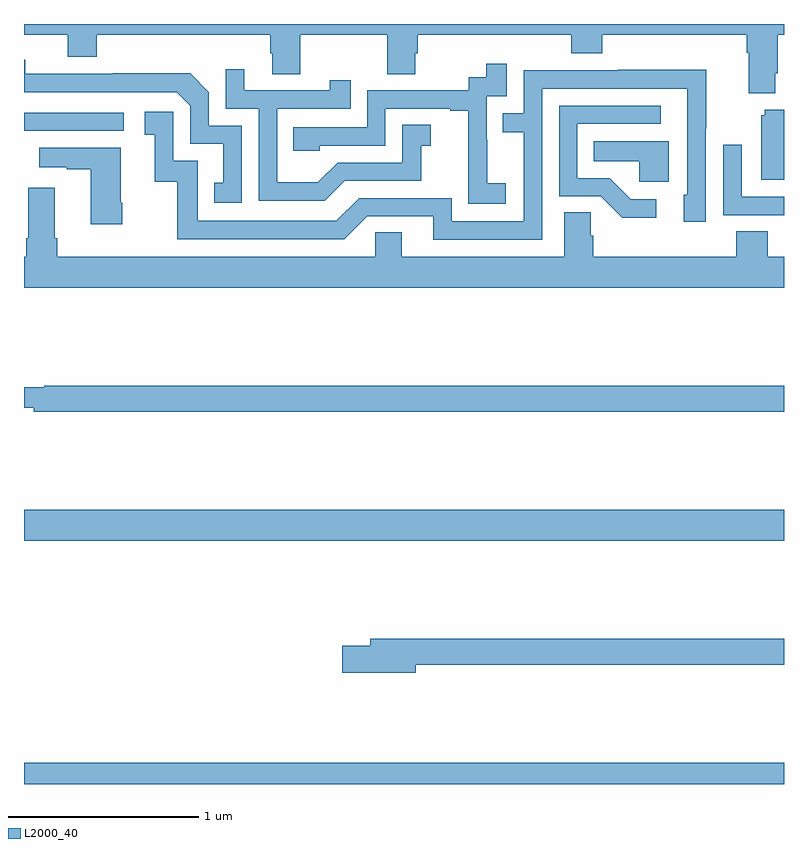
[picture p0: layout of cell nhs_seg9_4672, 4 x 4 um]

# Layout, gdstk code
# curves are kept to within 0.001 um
import gdstk
lib = gdstk.Library(unit=1e-6, precision=1e-09)
def R(c, l, rs):  # rectangles x0, y0, x1, y1
    for r in rs: c.add(gdstk.rectangle(r[:2], r[2:], *l))
def P(c, l, *ps):  # polygons
    for p in ps: c.add(gdstk.Polygon(p, *l))
L2000_40 = (2000, 40)

nhs_seg9_4672 = lib.new_cell('nhs_seg9_4672')
R(nhs_seg9_4672, L2000_40, [(381,1168.5,385,1168.612), (381,1169.78,385,1169.944), (381,1171.938,381.526,1172.034)])
P(nhs_seg9_4672, L2000_40, [(384.955,1172.242),(384.968,1172.242),(384.968,1172.444),(385,1172.444),(385,1172.5),(381,1172.5),(381,1172.444),(381.23,1172.444),(381.23,1172.327),(381.383,1172.327),(381.383,1172.444),(382.295,1172.444),(382.295,1172.346),(382.307,1172.346),(382.307,1172.236),(382.455,1172.236),(382.455,1172.444),(382.912,1172.444),(382.912,1172.236),(383.059,1172.236),(383.059,1172.346),(383.072,1172.346),(383.072,1172.444),(383.879,1172.444),(383.879,1172.345),(384.044,1172.345),(384.044,1172.444),(384.803,1172.444),(384.803,1172.348),(384.815,1172.348),(384.815,1172.135),(384.955,1172.135)],
  [(382.146,1171.965),(381.972,1171.965),(381.972,1172.142),(381.874,1172.24),(381.466,1172.24),(381.466,1172.238),(381.006,1172.238),(381.006,1172.311),(381,1172.311),(381,1172.142),(381.804,1172.142),(381.876,1172.07),(381.876,1171.869),(382.049,1171.869),(382.049,1171.665),(382,1171.665),(382,1171.56),(382.146,1171.56)],
  [(383.536,1171.663),(383.438,1171.663),(383.438,1171.892),(383.436,1171.892),(383.436,1172.121),(383.541,1172.121),(383.541,1172.29),(383.433,1172.29),(383.433,1172.22),(383.34,1172.22),(383.34,1172.151),(382.806,1172.151),(382.806,1171.956),(382.417,1171.956),(382.417,1171.833),(382.557,1171.833),(382.557,1171.86),(382.902,1171.86),(382.902,1172.055),(383.243,1172.055),(383.243,1172.043),(383.339,1172.043),(383.339,1171.759),(383.338,1171.759),(383.338,1171.553),(383.536,1171.553)],
  [(382.687,1171.674),(383.091,1171.674),(383.091,1171.859),(383.14,1171.859),(383.14,1171.969),(382.992,1171.969),(382.992,1171.77),(382.65,1171.77),(382.546,1171.666),(382.332,1171.666),(382.332,1172.055),(382.721,1172.055),(382.721,1172.203),(382.61,1172.203),(382.61,1172.151),(382.159,1172.151),(382.159,1172.263),(382.062,1172.263),(382.062,1172.055),(382.236,1172.055),(382.236,1171.569),(382.582,1171.569)],
  [(383.727,1172.16),(384.491,1172.16),(384.492,1171.602),(384.473,1171.602),(384.473,1171.458),(384.588,1171.458),(384.588,1171.951),(384.591,1171.951),(384.591,1172.258),(384.127,1172.258),(384.127,1172.256),(383.631,1172.256),(383.631,1172.031),(383.521,1172.031),(383.521,1171.93),(383.631,1171.93),(383.631,1171.461),(383.25,1171.461),(383.25,1171.584),(382.764,1171.584),(382.644,1171.464),(381.915,1171.464),(381.915,1171.779),(381.786,1171.779),(381.786,1172.038),(381.636,1172.038),(381.636,1171.917),(381.689,1171.917),(381.689,1171.671),(381.807,1171.671),(381.807,1171.368),(382.686,1171.368),(382.806,1171.488),(383.153,1171.488),(383.153,1171.365),(383.727,1171.365)],
  [(384.328,1171.578),(384.193,1171.578),(384.082,1171.689),(383.913,1171.689),(383.913,1171.974),(384.352,1171.974),(384.352,1172.07),(383.817,1172.07),(383.817,1171.593),(384.036,1171.593),(384.149,1171.481),(384.328,1171.481)],
  [(385,1172.05),(384.899,1172.05),(384.899,1172.019),(384.881,1172.019),(384.881,1171.679),(385,1171.679)],
  [(384.394,1171.882),(383.998,1171.882),(383.998,1171.778),(384.237,1171.778),(384.237,1171.67),(384.394,1171.67)],
  [(385,1171.59),(384.777,1171.59),(384.777,1171.864),(384.681,1171.864),(384.681,1171.494),(384.997,1171.494),(384.997,1171.493),(385,1171.493)],
  [(381.516,1171.558),(381.508,1171.558),(381.508,1171.849),(381.081,1171.849),(381.081,1171.745),(381.224,1171.745),(381.224,1171.735),(381.35,1171.735),(381.35,1171.446),(381.516,1171.446)],
  [(385,1171.276),(384.914,1171.276),(384.914,1171.409),(384.749,1171.409),(384.749,1171.276),(383.996,1171.276),(383.996,1171.385),(383.982,1171.385),(383.982,1171.508),(383.843,1171.508),(383.843,1171.276),(382.987,1171.276),(382.987,1171.403),(382.848,1171.403),(382.848,1171.276),(381.176,1171.276),(381.176,1171.372),(381.163,1171.372),(381.163,1171.639),(381.023,1171.639),(381.023,1171.372),(381.011,1171.372),(381.011,1171.276),(381,1171.276),(381,1171.112),(385,1171.112)],
  [(385,1170.596),(381.107,1170.596),(381.107,1170.589),(381,1170.589),(381,1170.479),(381.052,1170.479),(381.052,1170.46),(385,1170.46)],
  [(383.062,1169.128),(385,1169.128),(385,1169.264),(382.823,1169.264),(382.823,1169.228),(382.674,1169.228),(382.674,1169.086),(383.062,1169.086)])

lib.write_gds('nhs_seg9_4672.gds')
